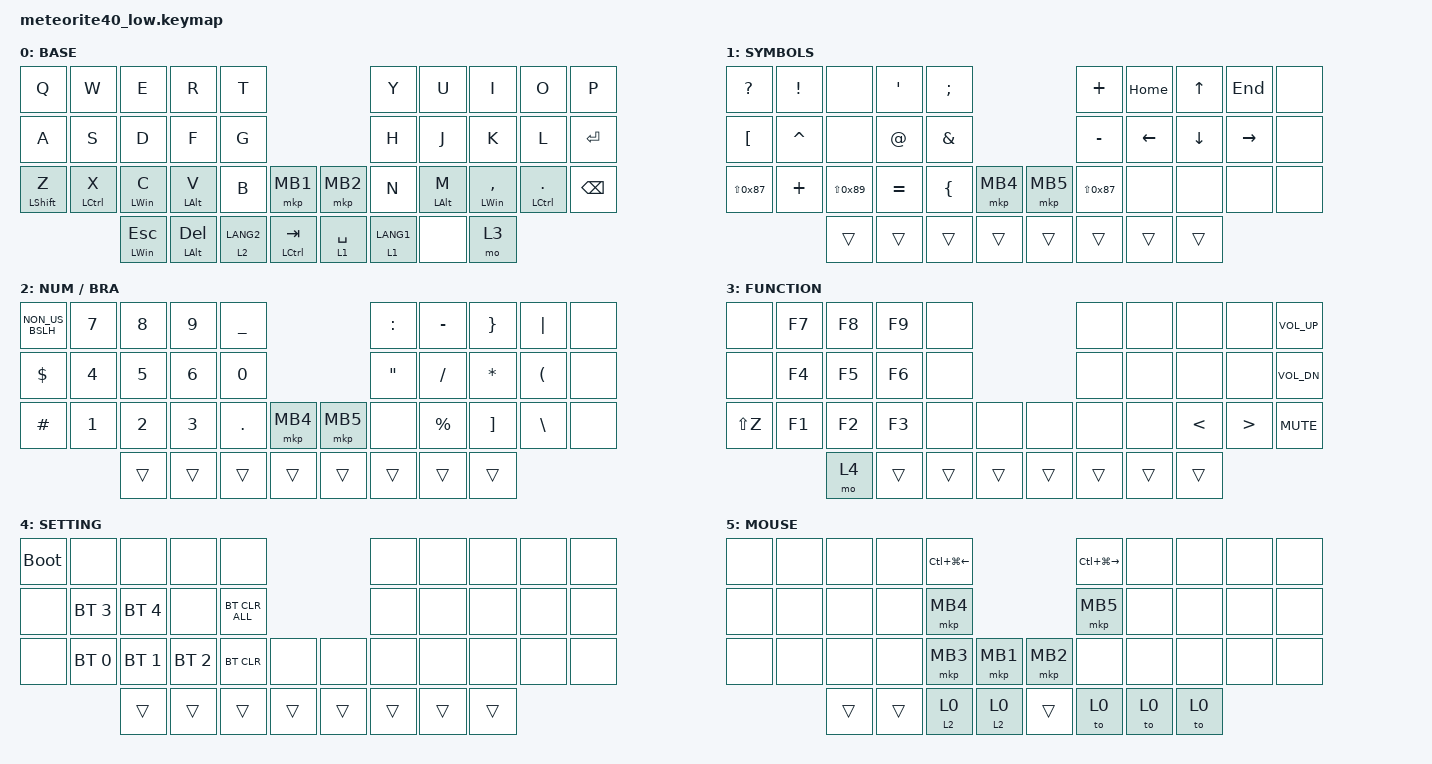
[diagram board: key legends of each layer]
#include <behaviors.dtsi>
#include <dt-bindings/zmk/bt.h>
#include <dt-bindings/zmk/keys.h>
#include <dt-bindings/zmk/pointing.h>

// OS設定を日本語キーボードのまま使用するための変換定義
#define JP_DQUOTE       AT                // "
#define JP_QUOTE        AMPERSAND         // '
#define JP_BQUOTE       LEFT_BRACE        // `
#define JP_AMPS         CARET             // &
#define JP_CARET        EQUAL             // ^
#define JP_YEN          NON_US_BSLH       // ¥
     // DOLLAR                            // $
#define JP_EQUAL        UNDER             // =
#define JP_PLUS         COLON             // +
     // MINUS                             // -
#define JP_ASTERISK     DOUBLE_QUOTES     // *
     // SLASH                             // /
     // PERCENT                           // %
     // LT                                // <
     // GT                                // >
#define JP_TILDE        PLUS              // ~
#define JP_PIPE         LS(0x89)          // |
#define JP_AT           LEFT_BRACKET      // @
#define JP_COLON        SINGLE_QUOTE      // :
     // SEMI                              // ;
#define JP_UNDER        LS(0x87)          // _
#define JP_LBRAKT       RIGHT_BRACKET     // [
#define JP_RBRAKT       BACKSLASH         // ]
#define JP_LPAREN       ASTERISK          // (
#define JP_RPAREN       LEFT_PARENTHESIS  // )
#define JP_LBRACE       RIGHT_BRACE       // {
#define JP_RBRACE       PIPE              // }
#define JP_KANA         LANGUAGE_1        // かな
#define JP_EISU         LANGUAGE_2        // 英数
#define JP_HANZEN       GRAVE             // 半角/全角
     // HASH                              // #
     // QMARK                             // ?
     // EXCL                              // !
     // BSLH                              // \

&mt { 
    flavor = "tap-preferred"; // change hold to tap
    tapping-term-ms = <200>;
    quick-tap-ms = <150>; // change 200 to 150
};

&lt {
    flavor = "tap-preferred";
    tapping-term-ms = <150>; // change 200 to 150
    quick-tap-ms = <150>; // change 200 to 150
};

/ {
    behaviors {
        lt_to: layer_tap_to {
            compatible = "zmk,behavior-hold-tap";
            #binding-cells = <2>;
            flavor = "tap-preferred";
            tapping-term-ms = <150>;
            quick-tap-ms = <150>;
            bindings = <&mo>, <&to>;
        };
    }; 
    combos {
        compatible = "zmk,combos";

        lang2 {
            bindings = <&kp LANG2>;
            key-positions = <12 13>; /* D + F */
            layers = <0>;
        };

        lang1 {
            bindings = <&kp LANG1>;
            key-positions = <16 17>; /* J + K */
            layers = <0>;
        };

        esc {
            bindings = <&kp ESCAPE>;
            key-positions = <0 1>; /* Q + W */
            layers = <0>;
        };

        tab {
            bindings = <&kp TAB>;
            key-positions = <20 21>; /* Z + X */
            layers = <0>;
        };

        home {
            bindings = <&kp HOME>;
            key-positions = <16 17>; /* J + K (on layer 2) */
            layers = <2>;
        };

        end {
            bindings = <&kp END>;
            key-positions = <18 19>; /* L + - (on layer 2) */
            layers = <2>;
        };

        ctrl_home {
            bindings = <&kp LC(HOME)>;
            key-positions = <16 18>; /* J + L (on layer 2) */
            layers = <2>;
        };

        ctrl_end {
            bindings = <&kp LC(END)>;
            key-positions = <17 19>; /* K + - (on layer 2) */
            layers = <2>;
        };
    };

    keymap {
        compatible = "zmk,keymap";
        layout = &LOW_PROFILE_DEFAULT;

        win_default_layer {
            display-name = "BASE";
            bindings = <
                &kp Q         &kp W        &kp E         &kp R         &kp T                                    &kp Y        &kp U       &kp I           &kp O          &kp P
                &kp A         &kp S        &kp D         &kp F         &kp G                                    &kp H        &kp J       &kp K           &kp L          &kp ENTER
                &mt LSHIFT Z  &mt LCTRL X  &mt LWIN C    &mt LALT V    &kp B        &mkp MB1       &mkp MB2     &kp N        &mt LALT M  &mt LWIN COMMA  &mt LCTRL DOT  &kp BSPC
                                           &mt LWIN ESC  &mt LALT DEL  &lt 2 LANG2  &mt LCTRL TAB  &lt 1 SPACE  &lt 1 LANG1  &none       &mo 3
            >;
        };

        layer_1 {
            display-name = "SYMBOLS";
            bindings = <
                &kp QMARK     &kp EXCL      &none        &kp JP_COLON   &kp SEMI                            &kp JP_TILDE  &kp HOME  &kp UP    &kp END    &none
                &kp JP_AT     &kp JP_AMPS   &none        &kp JP_DQUOTE  &kp JP_QUOTE                        &kp MINUS     &kp LEFT  &kp DOWN  &kp RIGHT  &none
                &kp JP_UNDER  &kp JP_TILDE  &kp JP_PIPE  &kp JP_CARET   &kp JP_BQUOTE   &mkp MB4  &mkp MB5  &kp JP_UNDER  &none     &none     &none      &none
                                            &trans       &trans         &trans          &trans    &trans    &trans        &trans    &trans
            >;
        };

        layer_2 {
            display-name = "NUM / BRA";
            bindings = <
                &kp JP_YEN    &kp N7     &kp N8     &kp N9     &kp JP_EQUAL                        &kp JP_PLUS      &kp MINUS      &kp JP_LBRACE    &kp JP_RBRACE      &none 
                &kp DOLLAR    &kp N4     &kp N5     &kp N6     &kp N0                              &kp JP_ASTERISK  &kp SLASH      &kp JP_LPAREN    &kp JP_RPAREN      &none
                &kp HASH      &kp N1     &kp N2     &kp N3     &kp DOT       &mkp MB4   &mkp MB5   &none            &kp PERCENT    &kp JP_LBRAKT    &kp JP_RBRAKT      &none
                                         &trans     &trans     &trans        &trans     &trans     &trans           &trans         &trans
            >;
        };

        layer_3 {
            display-name = "FUNCTION";
            bindings = <
                &none       &kp F7   &kp F8   &kp F9   &none                   &none   &none   &none   &none   &kp C_VOL_UP
                &none       &kp F4   &kp F5   &kp F6   &none                   &none   &none   &none   &none   &kp C_VOL_DN
                &kp LS(Z)   &kp F1   &kp F2   &kp F3   &none   &none   &none   &none   &none   &kp LT  &kp GT  &kp C_MUTE
                                 &mo 4    &trans   &trans  &trans  &trans  &trans  &trans  &trans
            >;
        };

        layer_4 {
            display-name = "SETTING";            
            bindings = <
                &bootloader  &none          &none          &none          &none                                 &none     &none    &none      &none     &none
                &none        &bt BT_SEL 3   &bt BT_SEL 4   &none          &bt BT_CLR_ALL                        &none     &none    &none      &none     &none
                &none        &bt BT_SEL 0   &bt BT_SEL 1   &bt BT_SEL 2   &bt BT_CLR        &none     &none     &none     &none    &none      &none     &none
                                            &trans         &trans         &trans            &trans    &trans    &trans    &trans   &trans
            >;
        };

        layer_5 {
            display-name = "MOUSE";
            bindings = <
                &none    &none     &none     &none     &kp LC(LG(LEFT))                        &kp LC(LG(RIGHT))  &none    &none     &none     &none
                &none    &none     &none     &none     &mkp MB4                                &mkp MB5  &none    &none     &none     &none
                &none    &none     &none     &none     &mkp MB3          &mkp MB1    &mkp MB2  &none              &none    &none     &none     &none
                                   &trans    &trans    &lt_to 2 0        &lt_to 2 0  &trans    &to 0              &to 0    &to 0
            >;
        };
    };
};
